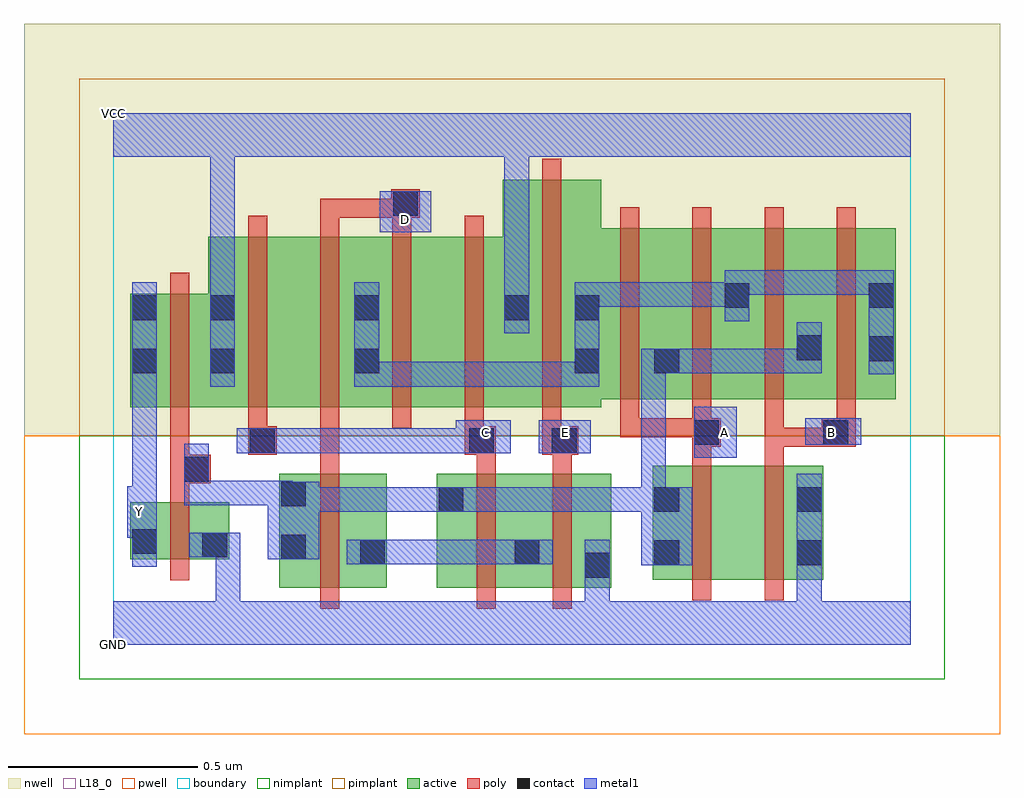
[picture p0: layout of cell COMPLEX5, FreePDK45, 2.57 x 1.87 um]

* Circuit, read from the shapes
.subckt COMPLEX5 A B C D E GND VCC Y
M1 GND n1 Y VSUBS nfet w=0.15u l=0.05u
M2 n2 D n1 VSUBS nfet w=0.3u l=0.05u
M3 n2 C n1 VSUBS nfet w=0.3u l=0.05u
M4 GND E n2 VSUBS nfet w=0.3u l=0.05u
M5 n3 A n1 VSUBS nfet w=0.3u l=0.05u
M6 GND B n3 VSUBS nfet w=0.3u l=0.05u
M7 VCC n1 Y n4 pfet w=0.3u l=0.05u
M8 n5 C VCC n4 pfet w=0.45u l=0.05u
M9 n6 D n5 n4 pfet w=0.45u l=0.05u
M10 n7 D n6 n4 pfet w=0.45u l=0.05u
M11 VCC C n7 n4 pfet w=0.45u l=0.05u
M12 n6 E VCC n4 pfet w=0.6u l=0.05u
M13 n1 A n6 n4 pfet w=0.45u l=0.05u m=2
M14 n1 B n6 n4 pfet w=0.45u l=0.05u m=2
.ends

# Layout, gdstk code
import gdstk
lib = gdstk.Library(unit=1e-6, precision=1e-09)
def R(c, l, rs):  # rectangles x0, y0, x1, y1
    for r in rs: c.add(gdstk.rectangle(r[:2], r[2:], *l))
def A(c, l, x, y, w, h, nx, ny, dx, dy):  # array of equal rectangles
    R(c, l, [(x+i*dx, y+j*dy, x+i*dx+w, y+j*dy+h) for i in range(nx) for j in range(ny)])
active = (1, 0)
pwell = (2, 0)
nwell = (3, 0)
nimplant = (4, 0)
pimplant = (5, 0)
poly = (9, 0)
contact = (10, 0)
metal1 = (11, 0)
L18_0 = (18, 0)
boundary = (235, 0)

complex5 = lib.new_cell('COMPLEX5')
R(complex5, active, [(0.437,0.15,0.72,0.45), (0.852,0.15,1.127,0.45), (1.052,0.15,1.312,0.45), (1.237,0.15,1.312,0.45), (1.42,0.172,1.645,0.472), (1.645,0.172,1.87,0.472), (0.437,0.195,0.512,0.45), (0.645,0.195,0.72,0.45), (0.852,0.195,0.927,0.45), (1.052,0.195,1.127,0.397), (1.42,0.195,1.525,0.472), (1.795,0.195,1.87,0.472), (0.045,0.225,0.12,0.375), (0.045,0.225,0.305,0.375), (0.23,0.225,0.305,0.375), (0.045,0.625,0.12,0.925), (0.045,0.625,0.325,0.925), (0.25,0.625,0.475,1.075), (0.475,0.625,0.705,1.075), (0.63,0.625,0.855,1.075), (0.63,0.625,0.705,1.075), (0.855,0.625,1.1,1.075), (1.025,0.625,1.285,1.225), (1.21,0.647,1.495,1.097), (1.21,0.647,1.285,1.2), (1.42,0.647,1.495,1.055), (1.42,0.647,1.68,1.097), (1.605,0.647,1.87,1.097), (1.795,0.647,1.87,1.055), (1.795,0.647,2.06,1.097), (1.985,0.647,2.06,1.055), (1.605,0.702,1.68,1.055), (0.25,0.71,0.325,0.925), (1.025,0.782,1.1,1.225)])
R(complex5, pwell, [(-0.235,-0.235,2.335,0.55)])
R(complex5, nwell, [(-0.235,0.55,2.335,1.635)])
R(complex5, nimplant, [(-0.09,-0.09,2.19,0.55)])
R(complex5, pimplant, [(-0.09,0.55,2.19,1.49)])
A(complex5, poly, 0.355, 0.57, 0.05, 0.56, 4, 1, 0.19, 0)
A(complex5, poly, 1.335, 0.592, 0.05, 0.56, 4, 1, 0.19, 0)
R(complex5, poly, [(0.545,0.095,0.595,0.505), (0.957,0.095,1.007,0.505), (1.157,0.095,1.207,0.505), (1.525,0.117,1.575,0.527), (1.715,0.117,1.765,0.527), (0.15,0.17,0.2,0.43), (0.15,0.38,0.2,0.475), (0.15,0.425,0.257,0.5), (0.15,0.45,0.2,0.62), (0.545,0.455,0.595,0.55), (0.957,0.455,1.007,0.55), (1.157,0.455,1.207,0.55), (1.525,0.477,1.575,0.572), (1.715,0.477,1.765,0.572), (0.355,0.5,0.43,0.575), (0.545,0.5,0.595,0.55), (0.545,0.5,0.595,0.62), (0.925,0.5,1.007,0.575), (1.13,0.5,1.225,0.575), (1.525,0.522,1.6,0.597), (1.715,0.522,1.915,0.572), (1.715,0.522,1.765,0.572), (1.715,0.522,1.765,0.572), (1.715,0.522,1.765,0.572), (1.715,0.522,1.765,0.642), (1.865,0.522,1.955,0.597), (0.355,0.525,0.405,0.62), (0.925,0.525,0.975,0.62), (1.13,0.525,1.18,0.62), (1.335,0.547,1.385,0.642), (1.335,0.547,1.385,0.597), (1.335,0.547,1.385,0.597), (1.335,0.547,1.385,0.597), (1.335,0.547,1.575,0.597), (1.525,0.547,1.575,0.642), (1.905,0.547,1.955,0.642), (0.15,0.57,0.2,0.98), (1.13,0.57,1.18,1.28), (0.545,1.08,0.595,1.175), (0.735,1.08,0.785,1.175), (0.545,1.125,0.595,1.175), (0.545,1.125,0.782,1.175), (0.732,1.125,0.782,1.175), (0.732,1.125,0.782,1.175), (0.732,1.125,0.807,1.2)])
R(complex5, contact, [(1.242,0.177,1.307,0.242), (1.425,0.21,1.49,0.275), (1.8,0.21,1.865,0.275), (0.65,0.212,0.715,0.277), (1.057,0.212,1.122,0.277), (0.442,0.225,0.507,0.29), (0.235,0.23,0.3,0.295), (0.05,0.24,0.115,0.305), (0.857,0.35,0.922,0.415), (1.425,0.35,1.49,0.415), (1.8,0.35,1.865,0.415), (0.442,0.365,0.507,0.43), (0.187,0.43,0.252,0.495), (0.36,0.505,0.425,0.57), (0.937,0.505,1.002,0.57), (1.155,0.505,1.22,0.57), (1.53,0.527,1.595,0.592), (1.87,0.527,1.935,0.592), (0.05,0.715,0.115,0.78), (0.255,0.715,0.32,0.78), (0.635,0.715,0.7,0.78), (1.215,0.715,1.28,0.78), (1.425,0.715,1.49,0.78), (1.99,0.747,2.055,0.812), (1.8,0.75,1.865,0.815), (0.05,0.855,0.115,0.92), (0.255,0.855,0.32,0.92), (0.635,0.855,0.7,0.92), (1.03,0.855,1.095,0.92), (1.215,0.855,1.28,0.92), (1.61,0.887,1.675,0.952), (1.99,0.887,2.055,0.952), (0.737,1.13,0.802,1.195)])
A(complex5, metal1, 1.61, 0.922, 0.065, 0.065, 3, 1, 0.19, 0)
R(complex5, metal1, [(0,0,2.1,0.115), (0.27,0.05,0.335,0.115), (0.27,0.05,0.335,0.115), (0.27,0.05,0.335,0.295), (1.242,0.05,1.307,0.207), (1.8,0.05,1.865,0.24), (1.242,0.142,1.307,0.277), (1.8,0.175,1.865,0.45), (0.05,0.205,0.115,0.34), (1.39,0.21,1.525,0.415), (0.615,0.212,0.75,0.277), (0.685,0.212,0.75,0.277), (0.685,0.212,0.75,0.277), (0.685,0.212,0.95,0.277), (0.885,0.212,0.95,0.277), (0.885,0.212,0.95,0.277), (0.885,0.212,0.95,0.277), (0.885,0.212,1.087,0.277), (1.022,0.212,1.157,0.277), (0.407,0.225,0.542,0.43), (0.2,0.23,0.335,0.295), (0.05,0.275,0.115,0.347), (0.037,0.282,0.115,0.417), (0.477,0.35,0.612,0.415), (0.547,0.35,0.612,0.415), (0.547,0.35,0.75,0.415), (0.685,0.35,0.75,0.415), (0.685,0.35,0.75,0.415), (0.685,0.35,0.75,0.415), (0.685,0.35,0.887,0.415), (0.822,0.35,0.957,0.415), (0.892,0.35,0.957,0.415), (0.892,0.35,0.957,0.415), (0.892,0.35,1.142,0.415), (1.077,0.35,1.142,0.415), (1.077,0.35,1.142,0.415), (1.077,0.35,1.142,0.415), (1.077,0.35,1.28,0.415), (1.215,0.35,1.28,0.415), (1.215,0.35,1.28,0.415), (1.215,0.35,1.28,0.415), (1.215,0.35,1.455,0.415), (1.39,0.35,1.455,0.78), (0.05,0.352,0.115,0.745), (0.407,0.365,0.472,0.43), (0.407,0.365,0.472,0.432), (0.187,0.367,0.252,0.432), (0.187,0.367,0.472,0.432), (0.187,0.367,0.252,0.46), (0.187,0.395,0.252,0.46), (0.187,0.395,0.252,0.46), (0.187,0.395,0.252,0.53), (1.53,0.492,1.642,0.627), (0.325,0.505,0.46,0.57), (0.395,0.505,0.46,0.57), (0.395,0.505,0.46,0.57), (0.395,0.505,0.61,0.57), (0.545,0.505,0.61,0.57), (0.545,0.505,0.75,0.57), (0.685,0.505,0.75,0.57), (0.685,0.505,0.75,0.57), (0.685,0.505,0.75,0.57), (0.685,0.505,0.95,0.57), (0.885,0.505,0.95,0.57), (0.885,0.505,0.967,0.57), (0.902,0.505,1.047,0.592), (1.12,0.505,1.257,0.592), (1.822,0.527,1.97,0.597), (0.05,0.68,0.115,0.955), (0.255,0.68,0.32,0.955), (0.635,0.68,0.7,0.955), (0.635,0.68,0.812,0.745), (0.747,0.68,0.812,0.745), (0.747,0.68,0.95,0.745), (0.885,0.68,0.95,0.745), (0.885,0.68,0.95,0.745), (0.885,0.68,0.95,0.745), (0.885,0.68,1.142,0.745), (1.077,0.68,1.142,0.745), (1.077,0.68,1.142,0.745), (1.077,0.68,1.142,0.745), (1.077,0.68,1.28,0.745), (1.215,0.68,1.28,0.955), (1.99,0.712,2.055,0.987), (1.39,0.715,1.455,0.78), (1.39,0.715,1.455,0.78), (1.39,0.715,1.525,0.78), (1.46,0.715,1.525,0.78), (1.46,0.715,1.525,0.78), (1.46,0.715,1.727,0.78), (1.662,0.715,1.727,0.78), (1.662,0.715,1.727,0.78), (1.662,0.715,1.727,0.78), (1.662,0.715,1.865,0.78), (1.8,0.715,1.865,0.85), (1.03,0.82,1.095,0.955), (1.61,0.852,1.675,0.987), (0.255,0.89,0.32,1.35), (1.03,0.89,1.095,1.35), (1.215,0.89,1.28,0.955), (1.215,0.89,1.28,0.955), (1.215,0.89,1.28,0.955), (1.215,0.89,1.28,0.955), (1.215,0.89,1.517,0.955), (1.452,0.89,1.517,0.955), (1.452,0.89,1.517,0.955), (1.452,0.89,1.517,0.955), (1.452,0.89,1.675,0.955), (1.61,0.922,1.675,0.987), (1.61,0.922,1.865,0.987), (1.8,0.922,2.055,0.987), (1.99,0.922,2.055,0.987), (0.702,1.087,0.837,1.195), (0,1.285,2.1,1.4), (0.255,1.285,0.32,1.35), (0.255,1.285,0.32,1.35), (0.255,1.285,0.32,1.35), (0.255,1.285,0.32,1.35), (1.03,1.285,1.095,1.35), (1.03,1.285,1.095,1.35)])
R(complex5, L18_0, [(0,0,2.1,0.115), (0.27,0.05,0.335,0.115), (0.27,0.05,0.335,0.115), (0.27,0.05,0.335,0.295), (1.242,0.05,1.307,0.207), (1.8,0.05,1.865,0.24), (1.242,0.142,1.307,0.277), (1.8,0.175,1.865,0.45), (0.05,0.205,0.115,0.34), (0.2,0.23,0.335,0.295), (0.05,0.275,0.115,0.347), (0.037,0.282,0.115,0.417), (0.037,0.317,0.102,0.382), (0.05,0.352,0.115,0.745), (1.53,0.492,1.642,0.627), (0.325,0.505,0.46,0.57), (0.395,0.505,0.46,0.57), (0.395,0.505,0.46,0.57), (0.395,0.505,0.61,0.57), (0.545,0.505,0.61,0.57), (0.545,0.505,0.75,0.57), (0.685,0.505,0.75,0.57), (0.685,0.505,0.75,0.57), (0.685,0.505,0.75,0.57), (0.685,0.505,0.95,0.57), (0.885,0.505,0.95,0.57), (0.885,0.505,0.967,0.57), (0.902,0.505,1.047,0.592), (1.12,0.505,1.257,0.592), (0.947,0.527,1.012,0.592), (1.157,0.527,1.222,0.592), (1.577,0.527,1.642,0.592), (1.822,0.527,1.97,0.597), (1.857,0.527,1.922,0.592), (0.05,0.68,0.115,0.955), (0.255,0.68,0.32,0.955), (1.03,0.82,1.095,0.955), (0.255,0.89,0.32,1.35), (1.03,0.89,1.095,1.35), (0.702,1.087,0.837,1.195), (0.737,1.087,0.802,1.152), (0,1.285,2.1,1.4), (0.255,1.285,0.32,1.35), (0.255,1.285,0.32,1.35), (0.255,1.285,0.32,1.35), (0.255,1.285,0.32,1.35), (1.03,1.285,1.095,1.35), (1.03,1.285,1.095,1.35)])
R(complex5, boundary, [(0,0,2.1,1.4)])
complex5.add(gdstk.Label('A', (1.61,0.56), layer=11, texttype=0))
complex5.add(gdstk.Label('B', (1.89,0.56), layer=11, texttype=0))
complex5.add(gdstk.Label('C', (0.98,0.56), layer=11, texttype=0))
complex5.add(gdstk.Label('D', (0.77,1.12), layer=11, texttype=0))
complex5.add(gdstk.Label('E', (1.19,0.56), layer=11, texttype=0))
complex5.add(gdstk.Label('Y', (0.07,0.35), layer=11, texttype=0))
complex5.add(gdstk.Label('VCC', (0,1.4), layer=11, texttype=0))
complex5.add(gdstk.Label('GND', (0,0), layer=11, texttype=0))

lib.write_gds('COMPLEX5.gds')
